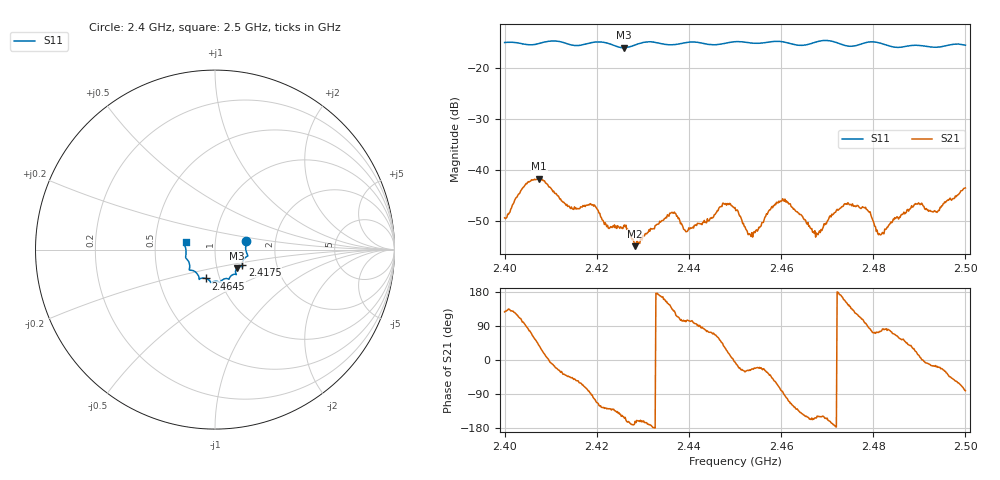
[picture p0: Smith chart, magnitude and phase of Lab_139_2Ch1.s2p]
# Hz S RI R 50
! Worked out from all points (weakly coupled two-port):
!   601 points, 2.4 GHz to 2.5 GHz, reference 50 ohm
!   highest |S21| = -41.61 dB at 2.4075 GHz (marker M1); lowest = -54.9 dB at 2.4283 GHz (marker M2)
!   lowest |S11| = -15.9 dB at 2.4258 GHz (marker M3), VSWR 1.38, Z = 62.3 - j13.2 ohm
!   |S11| at or under -10 dB: start of sweep to end of sweep
!   S12 and S22 are empty: the file has one direction only
!   S11 on the Smith chart (normalised r, x): 2.4 GHz: 1.41, +0.14; 2.4175 GHz: 1.34, -0.23; 2.4645 GHz: 0.86, -0.28; 2.5 GHz: 0.72, +0.06
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2.4e9  0.1729 0.049  -0.00205 0.00273  0 0  0 0
2.404167e9  0.1721 0.0235  -0.000978 0.00681  0 0  0 0
2.4075e9  0.1754 -0.0157  0.00657 0.00509  0 0  0 0
2.416667e9  0.1528 -0.0739  0.00205 -0.00386  0 0  0 0
2.4175e9  0.1519 -0.0833  0.00133 -0.0042  0 0  0 0
2.425833e9  0.1219 -0.1034  -0.00246 -0.00143  0 0  0 0
2.428333e9  0.1147 -0.126  -0.00171 -0.000566  0 0  0 0
2.433333e9  0.1131 -0.1372  -0.00294 0.000368  0 0  0 0
2.436667e9  0.0895 -0.1462  -0.00241 0.00293  0 0  0 0
2.439667e9  0.0793 -0.1621  -0.00067 0.00243  0 0  0 0
2.4475e9  0.0377 -0.1714  0.00379 0.00288  0 0  0 0
2.45e9  0.0287 -0.181  0.0043 -0.000415  0 0  0 0
2.453333e9  0.0152 -0.1774  0.00207 -0.00107  0 0  0 0
2.46e9  -0.024 -0.1821  0.000844 -0.0049  0 0  0 0
2.4645e9  -0.0516 -0.1606  -0.00281 -0.00225  0 0  0 0
2.466667e9  -0.0758 -0.1595  -0.00239 -0.00122  0 0  0 0
2.474167e9  -0.0986 -0.1346  -0.00416 0.00222  0 0  0 0
2.478833e9  -0.1404 -0.1147  0.000118 0.00402  0 0  0 0
2.481167e9  -0.143 -0.1081  0.000692 0.00223  0 0  0 0
2.483333e9  -0.1408 -0.09  0.000509 0.00284  0 0  0 0
2.493833e9  -0.1618 -0.00402  0.0037 -0.00111  0 0  0 0
2.5e9  -0.1636 0.0436  0.00103 -0.00664  0 0  0 0
